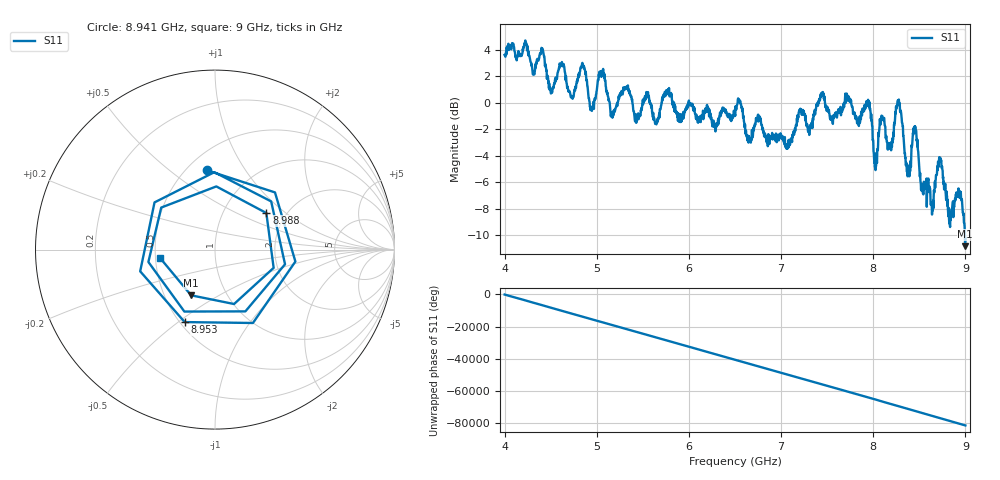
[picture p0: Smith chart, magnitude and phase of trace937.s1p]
! Created with skrf 1.8.0 (http://scikit-rf.org).
# Hz S RI R 50.0
!freq ReS11 ImS11
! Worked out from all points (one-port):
!   1601 points, 4 GHz to 9 GHz, reference 50 ohm
!   lowest |S11| = -10.8 dB at 8.997 GHz (marker M1), VSWR 1.81, Z = 34 - j18.9 ohm
!   |S11| at or under -10 dB: 8.994425 GHz to end of sweep
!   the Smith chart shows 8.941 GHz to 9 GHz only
!   S11 on the Smith chart (normalised r, x): 8.941 GHz: 0.62, +0.68; 8.953 GHz: 0.53, -0.53; 8.988 GHz: 1.59, +0.74; 9 GHz: 0.53, -0.06
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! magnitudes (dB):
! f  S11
! 4 GHz  3.6
! 4.406 GHz  4.0
! 4.506 GHz  1.0
! 4.625 GHz  2.9
! 4.728 GHz  0.5
! 4.856 GHz  2.8
! 4.944 GHz  -0.5
! 5.047 GHz  2.4
! 5.169 GHz  -0.8
! 5.25 GHz  0.6
! 5.875 GHz  -1.1
! 6.5 GHz  -0.9
! 7.125 GHz  -2.6
! 7.75 GHz  0.3
! 7.947 GHz  -0.1
! 8.028 GHz  -4.7
! 8.091 GHz  -1.0
! 8.278 GHz  0.2
! 8.375 GHz  -5.5
! 8.45 GHz  -1.8
! 8.628 GHz  -7.6
! 8.722 GHz  -4.3
! 8.828 GHz  -8.6
! 8.941 GHz  -7.0
! 8.953 GHz  -7.2
! 8.988 GHz  -9.1
! 8.997 GHz  -10.8
! 9 GHz  -10.2
